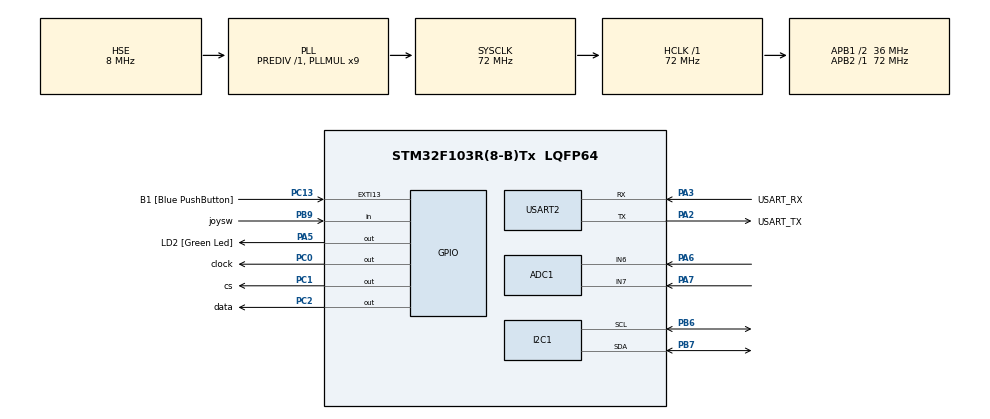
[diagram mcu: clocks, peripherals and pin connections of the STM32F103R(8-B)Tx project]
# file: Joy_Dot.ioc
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ADC1.Channel-0\#ChannelRegularConversion=ADC_CHANNEL_6
ADC1.Channel-1\#ChannelRegularConversion=ADC_CHANNEL_7
ADC1.ContinuousConvMode=ENABLE
ADC1.NbrOfConversion=2
ADC1.NbrOfConversionFlag=1
ADC1.Rank-0\#ChannelRegularConversion=1
ADC1.Rank-1\#ChannelRegularConversion=2
ADC1.SamplingTime-0\#ChannelRegularConversion=ADC_SAMPLETIME_239CYCLES_5
ADC1.SamplingTime-1\#ChannelRegularConversion=ADC_SAMPLETIME_239CYCLES_5
ADC1.master=1
Dma.ADC1.0.Direction=DMA_PERIPH_TO_MEMORY
Dma.ADC1.0.Instance=DMA1_Channel1
Dma.ADC1.0.MemDataAlignment=DMA_MDATAALIGN_WORD
Dma.ADC1.0.MemInc=DMA_MINC_ENABLE
Dma.ADC1.0.Mode=DMA_CIRCULAR
Dma.ADC1.0.PeriphDataAlignment=DMA_PDATAALIGN_WORD
Dma.ADC1.0.PeriphInc=DMA_PINC_DISABLE
Dma.ADC1.0.Priority=DMA_PRIORITY_LOW
Dma.Request0=ADC1
Mcu.Family=STM32F1
Mcu.Name=STM32F103R(8-B)Tx
Mcu.Package=LQFP64
NVIC.DMA1_Channel1_IRQn=true\:0\:0\:false\:false\:true\:false\:true\:true
NVIC.EXTI15_10_IRQn=true\:0\:0\:false\:false\:true\:true\:true\:true
NVIC.PriorityGroup=NVIC_PRIORITYGROUP_4
NVIC.TIM3_IRQn=true\:0\:0\:false\:false\:true\:true\:true\:true
PA13.GPIO_Label=TMS
PA13.Mode=Serial_Wire
PA13.Signal=SYS_JTMS-SWDIO
PA14.GPIO_Label=TCK
PA14.Mode=Serial_Wire
PA14.Signal=SYS_JTCK-SWCLK
PA2.GPIO_Label=USART_TX
PA2.GPIO_Mode=GPIO_MODE_AF_PP
PA2.GPIO_PuPd=GPIO_NOPULL
PA2.GPIO_Speed=GPIO_SPEED_FREQ_LOW
PA2.Mode=Asynchronous
PA2.Signal=USART2_TX
PA3.GPIO_Label=USART_RX
PA3.GPIO_Mode=GPIO_MODE_AF_PP
PA3.GPIO_PuPd=GPIO_NOPULL
PA3.GPIO_Speed=GPIO_SPEED_FREQ_LOW
PA3.Mode=Asynchronous
PA3.Signal=USART2_RX
PA5.GPIO_Label=LD2 [Green Led]
PA5.GPIO_ModeDefaultOutputPP=GPIO_MODE_OUTPUT_PP
PA5.GPIO_PuPd=GPIO_NOPULL
PA5.GPIO_Speed=GPIO_SPEED_FREQ_LOW
PA5.Signal=GPIO_Output
PA6.Signal=ADCx_IN6
PA7.Signal=ADCx_IN7
PB3.GPIO_Label=SWO
PB3.Signal=SYS_JTDO-TRACESWO
PB6.Mode=I2C
PB6.Signal=I2C1_SCL
PB7.Mode=I2C
PB7.Signal=I2C1_SDA
PB9.GPIO_Label=joysw
PB9.GPIO_PuPd=GPIO_PULLUP
PB9.Signal=GPIO_Input
PC0.GPIO_Label=clock
PC0.Signal=GPIO_Output
PC1.GPIO_Label=cs
PC1.Signal=GPIO_Output
PC13-TAMPER-RTC.GPIO_Label=B1 [Blue PushButton]
PC13-TAMPER-RTC.GPIO_PuPd=GPIO_NOPULL
PC13-TAMPER-RTC.Signal=GPXTI13
PC14-OSC32_IN.Mode=LSE-External-Oscillator
PC14-OSC32_IN.Signal=RCC_OSC32_IN
PC15-OSC32_OUT.Mode=LSE-External-Oscillator
PC15-OSC32_OUT.Signal=RCC_OSC32_OUT
PC2.GPIO_Label=data
PC2.Signal=GPIO_Output
PD0-OSC_IN.Mode=HSE-External-Clock-Source
PD0-OSC_IN.Signal=RCC_OSC_IN
PD1-OSC_OUT.Mode=HSE-External-Clock-Source
PD1-OSC_OUT.Signal=RCC_OSC_OUT
ProjectManager.HeapSize=0x200
ProjectManager.StackSize=0x400
ProjectManager.TargetToolchain=STM32CubeIDE
RCC.ADCPresc=RCC_ADCPCLK2_DIV8
RCC.AHBFreq_Value=72000000
RCC.APB1CLKDivider=RCC_HCLK_DIV2
RCC.APB1Freq_Value=36000000
RCC.APB1TimFreq_Value=72000000
RCC.APB2Freq_Value=72000000
RCC.APB2TimFreq_Value=72000000
RCC.HCLKFreq_Value=72000000
RCC.PLLMUL=RCC_PLL_MUL9
RCC.PLLSourceVirtual=RCC_PLLSOURCE_HSE
RCC.RTCClockSelection=RCC_RTCCLKSOURCE_LSE
RCC.SYSCLKFreq_VALUE=72000000
RCC.SYSCLKSource=RCC_SYSCLKSOURCE_PLLCLK
RCC.USBFreq_Value=72000000
RTC.Hours=19
RTC.Month=RTC_MONTH_MAY
RTC.WeekDay=RTC_WEEKDAY_SUNDAY
RTC.Year=22
SH.ADCx_IN6.0=ADC1_IN6,IN6
SH.ADCx_IN7.0=ADC1_IN7,IN7
TIM3.Period=5000-1
TIM3.Prescaler=7200-1
USART2.VirtualMode=VM_ASYNC
VP_RTC_No_RTC_Output.Mode=RTC_OUT_NO
VP_RTC_VS_RTC_Activate.Mode=RTC_Enabled
VP_RTC_VS_RTC_Calendar.Mode=RTC_Calendar
VP_TIM3_VS_ClockSourceINT.Mode=Internal
board=NUCLEO-F103RB

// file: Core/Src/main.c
/* USER CODE BEGIN Header */
/**
  ******************************************************************************
  * @file           : main.c
  * @brief          : Main program body
  ******************************************************************************
  * @attention
  *
  * Copyright (c) 2022 STMicroelectronics.
  * All rights reserved.
  *
  * This software is licensed under terms that can be found in the LICENSE file
  * in the root directory of this software component.
  * If no LICENSE file comes with this software, it is provided AS-IS.
  *
  ******************************************************************************
  */
/* USER CODE END Header */
#include "main.h"

/* USER CODE BEGIN Includes */
#include <stdio.h>
#include <string.h>
#include "am2320.h"
#include "FLASH_PAGE_F1.h"
/* USER CODE END Includes */

/* USER CODE BEGIN PD */
#ifdef __GNUC__
/* With GCC, small printf (option LD Linker->Libraries->Small printf
 set to 'Yes') calls __io_putchar() */
#define PUTCHAR_PROTOTYPE int __io_putchar(int ch)
#else
#define PUTCHAR_PROTOTYPE int fputc(int ch, FILE *f)
#endif /* __GNUC__ */
/* USER CODE END PD */

 ADC_HandleTypeDef hadc1;
DMA_HandleTypeDef hdma_adc1;

I2C_HandleTypeDef hi2c1;

RTC_HandleTypeDef hrtc;

TIM_HandleTypeDef htim3;

UART_HandleTypeDef huart2;

/* USER CODE BEGIN PV */
uint32_t joy_value[2];
uint8_t sw_value;
uint8_t input_delay =0;
uint8_t state =0;

uint8_t dot_flag1, dot_flag2 ,dot_flag3 ,dot_flag4;
uint8_t button_flag=0;

int row = 4;
int col = 4;

char time[30];
char date[30];

RTC_TimeTypeDef sTime;
RTC_DateTypeDef sDate;

/* USER CODE END PV */

void SystemClock_Config(void);
static void MX_GPIO_Init(void);
static void MX_DMA_Init(void);
static void MX_USART2_UART_Init(void);
static void MX_ADC1_Init(void);
static void MX_TIM3_Init(void);
static void MX_RTC_Init(void);
static void MX_I2C1_Init(void);

/* USER CODE BEGIN 0 */

uint8_t disp1ay[47][8]={
{0x00,0x00,0x00,0x00,0x00,0x18,0x18,0x00}, //.
{0x01,0x62,0x64,0x08,0x10,0x26,0x46,0x80}, // if wirte '/' -> %
{0x3C,0x42,0x42,0x42,0x42,0x42,0x42,0x3C},//0
{0x10,0x30,0x50,0x10,0x10,0x10,0x10,0x7c},//1
{0x7E,0x2,0x2,0x7E,0x40,0x40,0x40,0x7E},//2
{0x3E,0x2,0x2,0x3E,0x2,0x2,0x3E,0x0},//3
{0x8,0x18,0x28,0x48,0xFE,0x8,0x8,0x8},//4
{0x3C,0x20,0x20,0x3C,0x4,0x4,0x3C,0x0},//5
{0x3C,0x20,0x20,0x3C,0x24,0x24,0x3C,0x0},//6
{0x3E,0x22,0x4,0x8,0x8,0x8,0x8,0x8},//7
{0x0,0x3E,0x22,0x22,0x3E,0x22,0x22,0x3E},//8
{0x3E,0x22,0x22,0x3E,0x2,0x2,0x2,0x3E},//9
{0x00,0x18,0x18,0x00,0x00,0x18,0x18,0x00}, // :
{0x00,0x18,0x18,0x10,0x00,0x00,0x00,0x00}, // if wirte ';' -> '''
{0x08,0x10,0x20,0x40,0x20,0x10,0x08,0x00}, // <
{0x00,0x3C,0x3C,0x00,0x00,0x3C,0x3C,0x00}, // =
{0x20,0x10,0x08,0x04,0x08,0x10,0x20,0x00}, // >
{0x3C,0x24,0x24,0x08,0x10,0x10,0x00,0x10}, // ?
{0x00,0x00,0x00,0x00,0x00,0x00,0x00,0x00}, // if write '@' -> space
{0x18,0x24,0x42,0x42,0x7E,0x42,0x42,0x42},//A
{0x3C,0x22,0x22,0x3c,0x22,0x22,0x3C,0x0},//B
{0x3C,0x40,0x40,0x40,0x40,0x40,0x40,0x3C},//C
{0x7C,0x22,0x22,0x22,0x22,0x22,0x22,0x7C},//D
{0x7C,0x40,0x40,0x7C,0x40,0x40,0x40,0x7C},//E
{0x7C,0x40,0x40,0x7C,0x40,0x40,0x40,0x40},//F
{0x3C,0x40,0x40,0x40,0x4c,0x44,0x44,0x3C},//G
{0x44,0x44,0x44,0x7C,0x44,0x44,0x44,0x44},//H
{0x7C,0x10,0x10,0x10,0x10,0x10,0x10,0x7C},//I
{0x3C,0x8,0x8,0x8,0x8,0x8,0x48,0x30},//J
{0x0,0x24,0x28,0x30,0x20,0x30,0x28,0x24},//K
{0x40,0x40,0x40,0x40,0x40,0x40,0x40,0x7C},//L
{0x81,0xC3,0xA5,0x99,0x81,0x81,0x81,0x81},//M
{0x0,0x42,0x62,0x52,0x4A,0x46,0x42,0x0},//N
{0x3C,0x42,0x42,0x42,0x42,0x42,0x42,0x3C},//O
{0x3C,0x22,0x22,0x22,0x3C,0x20,0x20,0x20},//P
{0x1C,0x22,0x22,0x22,0x22,0x26,0x22,0x1D},//Q
{0x3C,0x22,0x22,0x22,0x3C,0x24,0x22,0x21},//R
{0x0,0x1E,0x20,0x20,0x3E,0x2,0x2,0x3C},//S
{0x0,0x3E,0x8,0x8,0x8,0x8,0x8,0x8},//T
{0x42,0x42,0x42,0x42,0x42,0x42,0x22,0x1C},//U
{0x42,0x42,0x42,0x42,0x42,0x42,0x24,0x18},//V
{0x0,0x49,0x49,0x49,0x49,0x2A,0x1C,0x0},//W
{0x0,0x41,0x22,0x14,0x8,0x14,0x22,0x41},//X
{0x41,0x22,0x14,0x8,0x8,0x8,0x8,0x8},//Y
{0x0,0x7F,0x2,0x4,0x8,0x10,0x20,0x7F},//Z
};

/***************************************/
uint8_t coordinate[9] = {0x00,0x00,0x00,0x00,0x00,0x00,0x00,0x00};
uint8_t map[9] = {0x00,0x00,0x00,0x00,0x00,0x00,0x00,0x00};

uint32_t Read_Data[9];
uint32_t Upload_Data[9];

/*****************dot matrix function*******************/

void write_byte (uint8_t byte)
{
	for (int i =0; i<8; i++)
	{
		HAL_GPIO_WritePin (GPIOC, clock_Pin, 0);  // pull the clock pin low
		HAL_GPIO_WritePin (GPIOC, data_Pin, byte&0x80);  // write the MSB bit to the data pin
		byte = byte<<1;  // shift left
		HAL_GPIO_WritePin (GPIOC, clock_Pin, 1);  // pull the clock pin HIGH
	}
}

void write_max (uint8_t address, uint8_t data)
{
	HAL_GPIO_WritePin (GPIOC, cs_Pin, 0);  // pull the CS pin LOW
	write_byte (address);
	write_byte (data);
	HAL_GPIO_WritePin (GPIOC, cs_Pin, 1);  // pull the CS pin HIGH
}

// function for init
void max_init(void)
{
 write_max(0x09, 0x00);       //  no decoding
 write_max(0x0a, 0x03);       //  brightness intensity
 write_max(0x0b, 0x07);       //  scan limit = 8 LEDs
 write_max(0x0c, 0x01);       //  power down =0,normal mode = 1
 write_max(0x0f, 0x00);       //  no test display
}

void write_string (char *str)
{
	while (*str)
	{
		for(int i=1;i<9;i++)
			   {
			       write_max (i,disp1ay[(*str - 46)][i-1]);
			   }
		str++;
		HAL_Delay (500);
	}
}

uint8_t MSB_check(uint8_t check, uint16_t col)
{
	uint8_t temp = (check >>col)&0x01;
	if(temp == 0x01) // if bit is 1
		return 1;
	else if(temp == 0x00) // if bit is 0
		return 0;
}

void write_string_shift(char *str)
{
	char now_display[8];
	char next_display[8];

	char str_length = strlen(str);
	char count =0; // check null

	while(*str)
	{
		for (int temp = 0; temp < 8; temp++)
		{
			now_display[temp] = disp1ay[(*str - 46)][temp];
		}
		str++; count++;
		for (int temp = 0; temp < 8; temp++)
		{
			next_display[temp] = disp1ay[(*str - 46)][temp];
		}
		// now char, next char copy

		for (int k = 7; k >= 0; k--) // shift
		{
			for (int i = 1; i < 9; i++)
			{
				if (MSB_check(next_display[i-1], k) == 1)
					now_display[i-1] = (now_display[i-1] << 1) + 1;
				else if (MSB_check(next_display[i-1], k) == 0)
					now_display[i-1] = now_display[i-1] << 1;
				write_max(i, now_display[i-1]);
			}
			HAL_Delay(100);

			if(HAL_GPIO_ReadPin(GPIOB, joysw_Pin) == 0)
						return;
		} //end of display
		if(HAL_GPIO_ReadPin(GPIOB, joysw_Pin) == 0)
			break;
		if(count==str_length -1)
			str++;
	} // end of while

}

uint8_t bit_check(uint8_t check)
{
	uint8_t temp = (check >>col)&0x01;
	if(temp == 0x01) // if bit is 1
		return 1;
	else if(temp == 0x00) // if bit is 0
		return 0;
}
/*****************temp function*******************/

/* USER CODE END 0 */

int main(void)
{
  /* USER CODE BEGIN 1 */
	uint16_t cnt =0;

  /* USER CODE END 1 */

  /* MCU Configuration--------------------------------------------------------*/

  /* Reset of all peripherals, Initializes the Flash interface and the Systick. */
  HAL_Init();

  /* Configure the system clock */
  SystemClock_Config();

  /* Initialize all configured peripherals */
  MX_GPIO_Init();
  MX_DMA_Init();
  MX_USART2_UART_Init();
  MX_ADC1_Init();
  MX_TIM3_Init();
  MX_RTC_Init();
  MX_I2C1_Init();
  /* USER CODE BEGIN 2 */

  printf("Start\n");
  max_init ();
  Am2320_HandleTypeDef Am2320_;
  Am2320_ = am2320_Init(&hi2c1, 0x5C << 1);
  float temperature, humidity;

  HAL_TIM_Base_Start_IT(&htim3);
  HAL_ADC_Start_DMA(&hadc1, joy_value, 2);

  /* USER CODE END 2 */

  /* Infinite loop */
  /* USER CODE BEGIN WHILE */
	while (1)
	{
		if (state == 0) // state 1 : normal control
		{
			if (input_delay == 1)
			{
				if (joy_value[1] == 0) //up
				{
					printf("up\r\n");
					dot_flag1 = 1; //dot matrix flag-> up
					input_delay = 0;
				}
				if (joy_value[1] == 4095) //down
				{
					printf("down\r\n");
					dot_flag2 = 1; //dot matrix flag-> down
					input_delay = 0;
				}
				if (joy_value[0] == 0) //left
				{
					printf("left\r\n");
					dot_flag3 = 1; //dot matrix flag-> left
					input_delay = 0;
				}
				if (joy_value[0] == 4095) //right
				{
					printf("right\r\n");
					dot_flag4 = 1; //dot matrix flag-> right
					input_delay = 0;
				}

				if (HAL_GPIO_ReadPin(GPIOB, joysw_Pin) == 0) // button push
				{
					printf("push\r\n");
					button_flag = 1;
					input_delay = 0;

				}

			}// end  of 'input_delay'
			if (dot_flag1 == 1) //up
					{
				coordinate[row] &= ~(1 << col); // pre-coordinate off

				if (row == 0)
					row = 7;
				else
					row--;
				coordinate[row] |= (1 << col);  //cur-coordinate on

				dot_flag1 = 0;
			}
			if (dot_flag2 == 1)  //down
					{
				coordinate[row] &= ~(1 << col); // pre-coordinate off
				if (row == 7)
					row = 0;
				else
					row++;
				coordinate[row] |= (1 << col);

				dot_flag2 = 0;
			}
			if (dot_flag3 == 1) //left
					{
				coordinate[row] &= ~(1 << col); // pre-coordinate off
				if (col == 7)
					col = 0;
				else
					col++;
				coordinate[row] |= (1 << col);

				dot_flag3 = 0;
			}
			if (dot_flag4 == 1) //right
					{
				coordinate[row] &= ~(1 << col); // pre-coordinate off
				if (col == 0)
					col = 7;
				else
					col--;
				coordinate[row] |= (1 << col);
				dot_flag4 = 0;
			}
			if (button_flag == 1) {
				uint8_t bit_state = bit_check(map[row]);
				if (bit_state == 0) { // if bit is 0
					map[row] |= (1 << col); // led on
				} else if (bit_state == 1) { // if bit is 1
					map[row] &= ~(1 << col); //led off
				}

				button_flag = 0;
			}

			while (!(HAL_GPIO_ReadPin(GPIOB, joysw_Pin))) // push button while 5sec;
			{
				cnt++;
				HAL_Delay(100);
				if (cnt > 10) {
					printf("Mode change to 1\r\n");
					cnt = 0;
					state = 1; // change to state1
					write_string("1");
					HAL_Delay(1000);
				}
			}
		}// end of 'state0'

		if (state == 1) // state 1 : display current time
		{
			HAL_RTC_GetTime(&hrtc, &sTime, RTC_FORMAT_BIN);
			HAL_RTC_GetDate(&hrtc, &sDate, RTC_FORMAT_BIN);

			//sprintf(date,"Date: %02d.%02d.%02d\t",sDate.Date,sDate.Month,sDate.Year);
			sprintf(time,"%02d:%02d:%02d",sTime.Hours,sTime.Minutes,sTime.Seconds);
			write_string_shift(time);

			while (!(HAL_GPIO_ReadPin(GPIOB, joysw_Pin))) // push button while 5sec;
			{
				cnt++;
				HAL_Delay(100);
				if (cnt > 10)
				{
					printf("Mode change to 2\r\n");
					cnt = 0;
					state = 2; // change to state0
					write_string("2");
					HAL_Delay(1000);
					max_init ();
				}
			}
		 } // end of 'state1'

		if (state == 2) // state 2 : display temp and hum
		{
			//Am2320_ = am2320_Init(&hi2c1, 0x5C << 1);
			am2320_GetTemperatureAndHumidity(&Am2320_, &temperature, &humidity);
			printf("=====================================\r\n");
			printf("Temperature: %.1fºC\r\n", temperature);
			printf("Humidity: %.1f%%\r\n", humidity);

			sprintf(time,"%.1f;C@%.1f/",temperature,humidity);
			write_string_shift(time);

			while (!(HAL_GPIO_ReadPin(GPIOB, joysw_Pin))) // push button while 5sec;
			{
				cnt++;
				HAL_Delay(100);
				if (cnt > 10)
				{
					printf("Mode change to 3\r\n");
					cnt = 0;
					state = 3; // change to state0
					write_string("3");
					HAL_Delay(1000);
					max_init ();
				}
			}
		 } // end of 'state2'

		if (state == 3) // state 3 : save to Flash Memory
		{
			for(int i =0; i<8; i++)
			{
				Upload_Data[i] = (uint32_t)map[i];
			}
			if (input_delay == 1) {
				if (joy_value[1] == 0) //up
						{
					printf("up\r\n");
					Flash_Write_Data(0x0801F010 , Upload_Data,8);

					//Flash_Write_Data(0x08004410 , Upload_Data,8);
					input_delay = 0;
					write_string_shift("SAVE1");
				}
				if (joy_value[1] == 4095) //down
						{
					printf("down\r\n");
					Flash_Write_Data(0x0801F410 , Upload_Data,8);
					//Flash_Write_Data(0x0800430 , Upload_Data,8);
					input_delay = 0;
					write_string_shift("SAVE2");
				}
				if (joy_value[0] == 0) //left
						{
					printf("left\r\n");
					Flash_Write_Data(0x0801F810 , Upload_Data,8);
					//Flash_Write_Data(0x08004450 , Upload_Data,8);
					input_delay = 0;
					write_string_shift("SAVE3");
				}
				if (joy_value[0] == 4095) //right
						{
					printf("right\r\n");
					Flash_Write_Data(0x0801FC10 , Upload_Data,8);
					//Flash_Write_Data(0x08004470 , Upload_Data,8);
					input_delay = 0;
					write_string_shift("SAVE4");
				}

				if (HAL_GPIO_ReadPin(GPIOB, joysw_Pin) == 0) // button push
						{
					printf("push\r\n");
					button_flag = 1;
					input_delay = 0;

				}
			}

			while (!(HAL_GPIO_ReadPin(GPIOB, joysw_Pin))) // push button while 5sec;
			{
				cnt++;
				HAL_Delay(100);
				if (cnt > 10)
				{
					printf("Mode change to 4\r\n");
					cnt = 0;
					state = 4; // change to state4
					write_string("4");
					HAL_Delay(1000);
					max_init();
				}
			}
		} // end of 'state3'

		if (state == 4) // state 4 : display saved map
		{
			if (input_delay == 1) {
				if (joy_value[1] == 0) //up
						{
					printf("up\r\n");
					Flash_Read_Data(0x0801F010, Read_Data, 8);

					//Flash_Read_Data(0x08004410, Read_Data, 8);
					for(int i =0; i<8; i++)
					{
						map[i] = (uint8_t)Read_Data[i];
					}
					write_string_shift("READ1");
					input_delay = 0;
				}
				if (joy_value[1] == 4095) //down
						{
					printf("down\r\n");
					Flash_Read_Data(0x0801F410, Read_Data, 8);
					//Flash_Read_Data(0x08004430, Read_Data, 8);
					for(int i =0; i<8; i++)
					{
						map[i] = (uint8_t)Read_Data[i];
					}
					write_string_shift("READ2");
					input_delay = 0;
				}
				if (joy_value[0] == 0) //left
						{
					printf("left\r\n");
					Flash_Read_Data(0x0801F810, Read_Data, 8);
					//Flash_Read_Data(0x08004450, Read_Data, 8);
					for(int i =0; i<8; i++)
					{
						map[i] = (uint8_t)Read_Data[i];
					}
					write_string_shift("READ3");
					input_delay = 0;
				}
				if (joy_value[0] == 4095) //right
						{
					printf("right\r\n");
					Flash_Read_Data(0x0801FC10, Read_Data, 8);
					//Flash_Read_Data(0x08004470, Read_Data, 8);
					for(int i =0; i<8; i++)
					{
						map[i] = (uint8_t)Read_Data[i];
					}
					write_string_shift("READ4");
					input_delay = 0;
				}
//				if (HAL_GPIO_ReadPin(GPIOB, joysw_Pin) == 0) // button push
//				{
//					printf("push\r\n");
//					for (int i = 0; i < 8; i++)
//					{
//						map[i] = Display_Data[i];
//					}
//					input_delay = 0;
//
//				}
			}

			while (!(HAL_GPIO_ReadPin(GPIOB, joysw_Pin))) // push button while 5sec;
			{
				cnt++;
				HAL_Delay(100);
				if (cnt > 10)
				{
					printf("Mode change to 0\r\n");
					cnt = 0;
					state = 0; // change to state0
					write_string("0");
					HAL_Delay(1000);
					max_init();
				}
			}
		} // end of 'state4'

		for (int i = 1; i < 9; i++) // display coordinate
		{
			write_max(i, coordinate[i - 1]);
			write_max(i, map[i - 1]);
		}

//sw_value = HAL_GPIO_ReadPin(GPIOB,JOYSW_Pin);
//printf("x : %ld, y : %ld, sw : %d\n", joy_value[0], joy_value[1], sw_value);
//HAL_Delay(500);

    /* USER CODE END WHILE */

    /* USER CODE BEGIN 3 */

//		for (int i = 1; i < 9; i++) // display map
//		{
//			write_max(i, map[i - 1]);
//		}

  }//end of while
  /* USER CODE END 3 */
}

void SystemClock_Config(void)
{
  RCC_OscInitTypeDef RCC_OscInitStruct = {0};
  RCC_ClkInitTypeDef RCC_ClkInitStruct = {0};
  RCC_PeriphCLKInitTypeDef PeriphClkInit = {0};

  /** Initializes the RCC Oscillators according to the specified parameters
  * in the RCC_OscInitTypeDef structure.
  */
  RCC_OscInitStruct.OscillatorType = RCC_OSCILLATORTYPE_HSE|RCC_OSCILLATORTYPE_LSE;
  RCC_OscInitStruct.HSEState = RCC_HSE_BYPASS;
  RCC_OscInitStruct.HSEPredivValue = RCC_HSE_PREDIV_DIV1;
  RCC_OscInitStruct.LSEState = RCC_LSE_ON;
  RCC_OscInitStruct.HSIState = RCC_HSI_ON;
  RCC_OscInitStruct.PLL.PLLState = RCC_PLL_ON;
  RCC_OscInitStruct.PLL.PLLSource = RCC_PLLSOURCE_HSE;
  RCC_OscInitStruct.PLL.PLLMUL = RCC_PLL_MUL9;
  if (HAL_RCC_OscConfig(&RCC_OscInitStruct) != HAL_OK)
  {
    Error_Handler();
  }

  /** Initializes the CPU, AHB and APB buses clocks
  */
  RCC_ClkInitStruct.ClockType = RCC_CLOCKTYPE_HCLK|RCC_CLOCKTYPE_SYSCLK
                              |RCC_CLOCKTYPE_PCLK1|RCC_CLOCKTYPE_PCLK2;
  RCC_ClkInitStruct.SYSCLKSource = RCC_SYSCLKSOURCE_PLLCLK;
  RCC_ClkInitStruct.AHBCLKDivider = RCC_SYSCLK_DIV1;
  RCC_ClkInitStruct.APB1CLKDivider = RCC_HCLK_DIV2;
  RCC_ClkInitStruct.APB2CLKDivider = RCC_HCLK_DIV1;

  if (HAL_RCC_ClockConfig(&RCC_ClkInitStruct, FLASH_LATENCY_2) != HAL_OK)
  {
    Error_Handler();
  }
  PeriphClkInit.PeriphClockSelection = RCC_PERIPHCLK_RTC|RCC_PERIPHCLK_ADC;
  PeriphClkInit.RTCClockSelection = RCC_RTCCLKSOURCE_LSE;
  PeriphClkInit.AdcClockSelection = RCC_ADCPCLK2_DIV8;
  if (HAL_RCCEx_PeriphCLKConfig(&PeriphClkInit) != HAL_OK)
  {
    Error_Handler();
  }
}

static void MX_ADC1_Init(void)
{

  ADC_ChannelConfTypeDef sConfig = {0};

  /** Common config
  */
  hadc1.Instance = ADC1;
  hadc1.Init.ScanConvMode = ADC_SCAN_ENABLE;
  hadc1.Init.ContinuousConvMode = ENABLE;
  hadc1.Init.DiscontinuousConvMode = DISABLE;
  hadc1.Init.ExternalTrigConv = ADC_SOFTWARE_START;
  hadc1.Init.DataAlign = ADC_DATAALIGN_RIGHT;
  hadc1.Init.NbrOfConversion = 2;
  if (HAL_ADC_Init(&hadc1) != HAL_OK)
  {
    Error_Handler();
  }

  /** Configure Regular Channel
  */
  sConfig.Channel = ADC_CHANNEL_6;
  sConfig.Rank = ADC_REGULAR_RANK_1;
  sConfig.SamplingTime = ADC_SAMPLETIME_239CYCLES_5;
  if (HAL_ADC_ConfigChannel(&hadc1, &sConfig) != HAL_OK)
  {
    Error_Handler();
  }

  /** Configure Regular Channel
  */
  sConfig.Channel = ADC_CHANNEL_7;
  sConfig.Rank = ADC_REGULAR_RANK_2;
  if (HAL_ADC_ConfigChannel(&hadc1, &sConfig) != HAL_OK)
  {
    Error_Handler();
  }

}

static void MX_I2C1_Init(void)
{

  hi2c1.Instance = I2C1;
  hi2c1.Init.ClockSpeed = 100000;
  hi2c1.Init.DutyCycle = I2C_DUTYCYCLE_2;
  hi2c1.Init.OwnAddress1 = 0;
  hi2c1.Init.AddressingMode = I2C_ADDRESSINGMODE_7BIT;
  hi2c1.Init.DualAddressMode = I2C_DUALADDRESS_DISABLE;
  hi2c1.Init.OwnAddress2 = 0;
  hi2c1.Init.GeneralCallMode = I2C_GENERALCALL_DISABLE;
  hi2c1.Init.NoStretchMode = I2C_NOSTRETCH_DISABLE;
  if (HAL_I2C_Init(&hi2c1) != HAL_OK)
  {
    Error_Handler();
  }

}

static void MX_RTC_Init(void)
{

  RTC_TimeTypeDef sTime = {0};
  RTC_DateTypeDef DateToUpdate = {0};

  /** Initialize RTC Only
  */
  hrtc.Instance = RTC;
  hrtc.Init.AsynchPrediv = RTC_AUTO_1_SECOND;
  hrtc.Init.OutPut = RTC_OUTPUTSOURCE_NONE;
  if (HAL_RTC_Init(&hrtc) != HAL_OK)
  {
    Error_Handler();
  }

  /** Initialize RTC and set the Time and Date
  */
  sTime.Hours = 0x19;
  sTime.Minutes = 0x0;
  sTime.Seconds = 0x0;

  if (HAL_RTC_SetTime(&hrtc, &sTime, RTC_FORMAT_BCD) != HAL_OK)
  {
    Error_Handler();
  }
  DateToUpdate.WeekDay = RTC_WEEKDAY_SUNDAY;
  DateToUpdate.Month = RTC_MONTH_MAY;
  DateToUpdate.Date = 0x1;
  DateToUpdate.Year = 0x22;

  if (HAL_RTC_SetDate(&hrtc, &DateToUpdate, RTC_FORMAT_BCD) != HAL_OK)
  {
    Error_Handler();
  }

}

static void MX_TIM3_Init(void)
{

  TIM_ClockConfigTypeDef sClockSourceConfig = {0};
  TIM_MasterConfigTypeDef sMasterConfig = {0};

  htim3.Instance = TIM3;
  htim3.Init.Prescaler = 7200-1;
  htim3.Init.CounterMode = TIM_COUNTERMODE_UP;
  htim3.Init.Period = 5000-1;
  htim3.Init.ClockDivision = TIM_CLOCKDIVISION_DIV1;
  htim3.Init.AutoReloadPreload = TIM_AUTORELOAD_PRELOAD_DISABLE;
  if (HAL_TIM_Base_Init(&htim3) != HAL_OK)
  {
    Error_Handler();
  }
  sClockSourceConfig.ClockSource = TIM_CLOCKSOURCE_INTERNAL;
  if (HAL_TIM_ConfigClockSource(&htim3, &sClockSourceConfig) != HAL_OK)
  {
    Error_Handler();
  }
  sMasterConfig.MasterOutputTrigger = TIM_TRGO_RESET;
  sMasterConfig.MasterSlaveMode = TIM_MASTERSLAVEMODE_DISABLE;
  if (HAL_TIMEx_MasterConfigSynchronization(&htim3, &sMasterConfig) != HAL_OK)
  {
    Error_Handler();
  }

}

static void MX_USART2_UART_Init(void)
{

  huart2.Instance = USART2;
  huart2.Init.BaudRate = 115200;
  huart2.Init.WordLength = UART_WORDLENGTH_8B;
  huart2.Init.StopBits = UART_STOPBITS_1;
  huart2.Init.Parity = UART_PARITY_NONE;
  huart2.Init.Mode = UART_MODE_TX_RX;
  huart2.Init.HwFlowCtl = UART_HWCONTROL_NONE;
  huart2.Init.OverSampling = UART_OVERSAMPLING_16;
  if (HAL_UART_Init(&huart2) != HAL_OK)
  {
    Error_Handler();
  }

}

static void MX_DMA_Init(void)
{

  /* DMA controller clock enable */
  __HAL_RCC_DMA1_CLK_ENABLE();

  /* DMA interrupt init */
  /* DMA1_Channel1_IRQn interrupt configuration */
  HAL_NVIC_SetPriority(DMA1_Channel1_IRQn, 0, 0);
  HAL_NVIC_EnableIRQ(DMA1_Channel1_IRQn);

}

static void MX_GPIO_Init(void)
{
  GPIO_InitTypeDef GPIO_InitStruct = {0};

  /* GPIO Ports Clock Enable */
  __HAL_RCC_GPIOC_CLK_ENABLE();
  __HAL_RCC_GPIOD_CLK_ENABLE();
  __HAL_RCC_GPIOA_CLK_ENABLE();
  __HAL_RCC_GPIOB_CLK_ENABLE();

  /*Configure GPIO pin Output Level */
  HAL_GPIO_WritePin(GPIOC, clock_Pin|cs_Pin|data_Pin, GPIO_PIN_RESET);

  /*Configure GPIO pin Output Level */
  HAL_GPIO_WritePin(LD2_GPIO_Port, LD2_Pin, GPIO_PIN_RESET);

  /*Configure GPIO pin : B1_Pin */
  GPIO_InitStruct.Pin = B1_Pin;
  GPIO_InitStruct.Mode = GPIO_MODE_IT_RISING;
  GPIO_InitStruct.Pull = GPIO_NOPULL;
  HAL_GPIO_Init(B1_GPIO_Port, &GPIO_InitStruct);

  /*Configure GPIO pins : clock_Pin cs_Pin data_Pin */
  GPIO_InitStruct.Pin = clock_Pin|cs_Pin|data_Pin;
  GPIO_InitStruct.Mode = GPIO_MODE_OUTPUT_PP;
  GPIO_InitStruct.Pull = GPIO_NOPULL;
  GPIO_InitStruct.Speed = GPIO_SPEED_FREQ_LOW;
  HAL_GPIO_Init(GPIOC, &GPIO_InitStruct);

  /*Configure GPIO pin : LD2_Pin */
  GPIO_InitStruct.Pin = LD2_Pin;
  GPIO_InitStruct.Mode = GPIO_MODE_OUTPUT_PP;
  GPIO_InitStruct.Pull = GPIO_NOPULL;
  GPIO_InitStruct.Speed = GPIO_SPEED_FREQ_LOW;
  HAL_GPIO_Init(LD2_GPIO_Port, &GPIO_InitStruct);

  /*Configure GPIO pin : joysw_Pin */
  GPIO_InitStruct.Pin = joysw_Pin;
  GPIO_InitStruct.Mode = GPIO_MODE_INPUT;
  GPIO_InitStruct.Pull = GPIO_PULLUP;
  HAL_GPIO_Init(joysw_GPIO_Port, &GPIO_InitStruct);

  /* EXTI interrupt init*/
  HAL_NVIC_SetPriority(EXTI15_10_IRQn, 0, 0);
  HAL_NVIC_EnableIRQ(EXTI15_10_IRQn);

}

/* USER CODE BEGIN 4 */
PUTCHAR_PROTOTYPE {
	/* Place your implementation of fputc here */
	/* e.g. write a character to the USART1 and Loop until the end of transmission */
	HAL_UART_Transmit(&huart2, (uint8_t*) &ch, 1, 0xFFFF);

	return ch;
}

void HAL_TIM_PeriodElapsedCallback(TIM_HandleTypeDef *htim)
{
	input_delay =1;
}
/* USER CODE END 4 */

void Error_Handler(void)
{
  __disable_irq();
  while (1)
  {
  }
}
